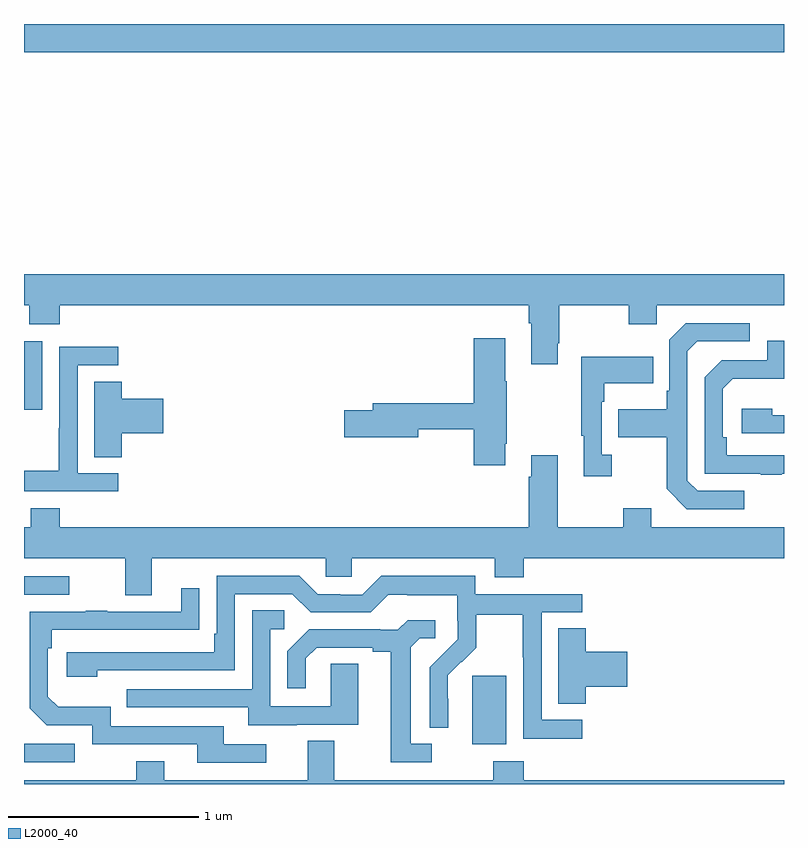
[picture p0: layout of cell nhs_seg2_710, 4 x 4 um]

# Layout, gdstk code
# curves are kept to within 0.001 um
import gdstk
lib = gdstk.Library(unit=1e-6, precision=1e-09)
def R(c, l, rs):  # rectangles x0, y0, x1, y1
    for r in rs: c.add(gdstk.rectangle(r[:2], r[2:], *l))
def P(c, l, *ps):  # polygons
    for p in ps: c.add(gdstk.Polygon(p, *l))
L2000_40 = (2000, 40)

nhs_seg2_710 = lib.new_cell('nhs_seg2_710')
R(nhs_seg2_710, L2000_40, [(147,627.915,147.268,628.011), (149.36,628.01,149.539,628.371), (147,628.797,147.238,628.893), (147,629.769,147.097,630.13), (147,631.652,151,631.8)])
P(nhs_seg2_710, L2000_40, [(149.809,630.121),(149.817,630.121),(149.817,630.32),(150.184,630.32),(150.184,630.221),(150.33,630.221),(150.33,630.32),(151,630.32),(151,630.484),(147,630.484),(147,630.32),(147.028,630.32),(147.028,630.221),(147.188,630.221),(147.188,630.32),(149.657,630.32),(149.657,630.224),(149.669,630.224),(149.669,630.009),(149.809,630.009)],
  [(150.79,629.343),(150.546,629.343),(150.492,629.397),(150.492,630.078),(150.543,630.129),(150.82,630.129),(150.82,630.225),(150.483,630.225),(150.396,630.138),(150.396,629.869),(150.384,629.869),(150.384,629.773),(150.127,629.773),(150.127,629.626),(150.384,629.626),(150.384,629.353),(150.489,629.247),(150.79,629.247)],
  [(149.533,629.59),(149.541,629.59),(149.541,629.921),(149.533,629.921),(149.533,630.145),(149.366,630.145),(149.366,629.804),(148.835,629.804),(148.835,629.768),(148.686,629.768),(148.686,629.626),(149.074,629.626),(149.074,629.668),(149.366,629.668),(149.366,629.478),(149.533,629.478)],
  [(150.989,629.433),(151,629.433),(151,629.529),(150.698,629.529),(150.698,629.626),(150.678,629.626),(150.678,629.88),(150.731,629.933),(151,629.933),(151,630.132),(150.912,630.132),(150.912,630.03),(150.672,630.03),(150.582,629.94),(150.582,629.433),(150.877,629.433),(150.877,629.428),(150.989,629.428)],
  [(147.496,629.436),(147.282,629.436),(147.282,630.003),(147.496,630.003),(147.496,630.102),(147.186,630.102),(147.186,629.672),(147.184,629.672),(147.184,629.449),(147,629.449),(147,629.34),(147.496,629.34)],
  [(150.094,629.534),(150.042,629.534),(150.042,629.813),(150.055,629.813),(150.055,629.909),(150.311,629.909),(150.311,630.049),(149.934,630.049),(149.934,629.633),(149.945,629.633),(149.945,629.421),(150.094,629.421)],
  [(147.515,629.645),(147.733,629.645),(147.733,629.828),(147.515,629.828),(147.515,629.918),(147.371,629.918),(147.371,629.521),(147.515,629.521)],
  [(151,629.742),(150.938,629.742),(150.938,629.776),(150.777,629.776),(150.777,629.646),(151,629.646)],
  [(147.673,628.988),(148.587,628.988),(148.587,628.89),(148.725,628.89),(148.725,628.988),(149.477,628.988),(149.477,628.889),(149.63,628.889),(149.63,628.988),(151,628.988),(151,629.152),(150.301,629.152),(150.301,629.251),(150.154,629.251),(150.154,629.152),(149.809,629.152),(149.809,629.53),(149.669,629.53),(149.669,629.417),(149.657,629.417),(149.657,629.152),(147.188,629.152),(147.188,629.251),(147.035,629.251),(147.035,629.152),(147,629.152),(147,628.988),(147.533,628.988),(147.533,628.794),(147.673,628.794)],
  [(149.938,628.137),(149.724,628.137),(149.724,628.704),(149.938,628.704),(149.938,628.8),(149.376,628.8),(149.376,628.897),(148.879,628.897),(148.779,628.797),(148.664,628.797),(148.664,628.8),(148.545,628.8),(148.449,628.896),(148.014,628.896),(148.014,628.591),(148.001,628.591),(148.001,628.494),(147.225,628.494),(147.225,628.364),(147.386,628.364),(147.386,628.398),(148.11,628.398),(148.11,628.8),(148.413,628.8),(148.509,628.704),(148.824,628.704),(148.917,628.797),(149.017,628.797),(149.017,628.793),(149.28,628.793),(149.28,628.659),(149.282,628.659),(149.282,628.562),(149.136,628.414),(149.136,628.096),(149.232,628.096),(149.231,628.373),(149.301,628.443),(149.304,628.44),(149.381,628.517),(149.381,628.692),(149.626,628.692),(149.626,628.468),(149.628,628.468),(149.628,628.039),(149.938,628.039)],
  [(148.276,628.008),(148.051,628.008),(148.051,628.104),(147.456,628.104),(147.456,628.207),(147.179,628.207),(147.126,628.26),(147.126,628.514),(147.146,628.514),(147.146,628.611),(147.923,628.612),(147.923,628.831),(147.827,628.831),(147.827,628.707),(147.437,628.707),(147.437,628.712),(147.325,628.712),(147.325,628.707),(147.03,628.707),(147.03,628.2),(147.12,628.11),(147.36,628.11),(147.36,628.008),(147.911,628.008),(147.911,627.912),(148.276,627.912)],
  [(148.435,628.113),(148.759,628.113),(148.759,628.433),(148.614,628.433),(148.614,628.209),(148.296,628.209),(148.296,628.614),(148.369,628.614),(148.369,628.715),(148.2,628.715),(148.2,628.299),(147.541,628.299),(147.541,628.203),(148.181,628.203),(148.181,628.109),(148.435,628.109)],
  [(149.146,628.011),(149.035,628.011),(149.035,628.519),(149.082,628.566),(149.164,628.566),(149.164,628.663),(149.02,628.663),(148.968,628.611),(148.874,628.611),(148.874,628.614),(148.502,628.614),(148.386,628.498),(148.386,628.305),(148.483,628.305),(148.483,628.461),(148.54,628.518),(148.835,628.518),(148.835,628.496),(148.931,628.496),(148.931,627.915),(149.146,627.915)],
  [(149.957,628.313),(150.175,628.313),(150.175,628.496),(149.957,628.496),(149.957,628.619),(149.813,628.619),(149.813,628.222),(149.957,628.222)],
  [(151,627.82),(149.63,627.82),(149.63,627.919),(149.47,627.919),(149.47,627.82),(148.633,627.82),(148.633,628.028),(148.493,628.028),(148.493,627.82),(147.739,627.82),(147.739,627.919),(147.592,627.919),(147.592,627.82),(147,627.82),(147,627.8),(151,627.8)])

lib.write_gds('nhs_seg2_710.gds')
